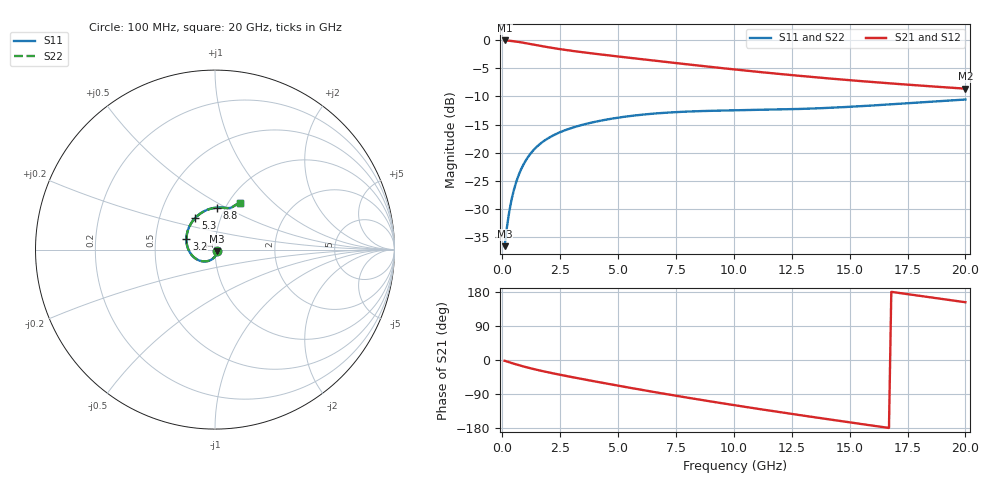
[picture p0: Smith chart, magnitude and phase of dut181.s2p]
! Touchstone file exported from HFSS 2023.1.0
!  File:  D:/Users/fzz/RDL_TSV/temp_RDL_TSV_181_1778755058.aedt
!  Generated:  6:45:59 %x4E0B%x5348  5%x6708 14, 2026
!  Design:  RDL_TSV
!  Project:  temp_RDL_TSV_181_1778755058
!  Setup:  Setup1
!  Solution:  Sweep
! Variables:
!  dtsv = 19.11um
!  hbump = 3um
!  htsv = 83.01um
!  ldown = 156.53um
!  lrdl = 473.07um
!  p = 40
!  p1 = 44.4um
!  rhole = 10um
!  subl = 2361.87um
!  t = 450um
!  tdown = 2.09um
!  trdl = 4.78um
!  viad = 10um
!  wdown = 20.1um
!  wrdl = 18.58um
!  xbump = 18um
# GHz S MA R 50.000000
! Terminal data exported
! Port[1] = TM1_1_T1
! Port[2] = TM1_4_T1
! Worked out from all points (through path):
!   200 points, 100 MHz to 20 GHz, reference 50 ohm
!   highest |S21| = -0.11 dB at 100 MHz (marker M1); lowest = -8.6 dB at 20 GHz (marker M2)
!   group delay of S21, straight-line fit = 27.5 ps
!   lowest |S11| = -36.5 dB at 100 MHz (marker M3), VSWR 1.03, Z = 51.1 - j1 ohm
!   |S11| at or under -10 dB: start of sweep to end of sweep
!   |S22| runs from -36.5 to -10.6 dB; largest |S21 - S12| = 1.1e-14
!   S11 on the Smith chart (normalised r, x): 100 MHz: 1.02, -0.02; 3.2 GHz: 0.72, +0.09; 5.3 GHz: 0.76, +0.28; 8.8 GHz: 0.92, +0.45; 20 GHz: 1.13, +0.65
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0.1  0.01488 -41.2  0.9873 -2.0  0.9873 -2.0  0.01488 -41.2
! Gamma 0 0 0 0
! Port Impedance 50 0 50 0
0.2  0.0219 -65.5  0.9848 -4.0  0.9848 -4.0  0.0219 -65.5
0.3  0.03006 -80.2  0.9811 -6.0  0.9811 -6.0  0.03006 -80.2
0.4  0.03847 -90.6  0.9764 -7.9  0.9764 -7.9  0.03847 -90.6
0.5  0.04683 -99.0  0.9709 -9.8  0.9709 -9.8  0.04683 -98.9
0.7  0.06287 -112.4  0.9579 -13.4  0.9579 -13.4  0.06286 -112.4
1  0.08448 -128.8  0.9352 -18.5  0.9352 -18.5  0.08447 -128.8
1.4  0.1083 -146.7  0.903 -24.6  0.903 -24.6  0.1083 -146.7
1.8  0.1273 -161.9  0.8725 -30.2  0.8725 -30.2  0.1272 -161.8
2.4  0.1491 179.2  0.8326 -37.8  0.8326 -37.8  0.1489 179.3
3.2  0.1708 158.9  0.7892 -47.3  0.7892 -47.3  0.1706 158.9
3.5  0.1776 152.3  0.7749 -50.8  0.7749 -50.8  0.1773 152.4
4.4  0.195 135.3  0.7359 -61.0  0.7359 -61.0  0.1945 135.4
5.3  0.2086 121.4  0.7005 -71.0  0.7005 -71.0  0.2081 121.5
6.8  0.2243 103.5  0.6462 -87.1  0.6462 -87.1  0.2236 103.6
8.8  0.2346 87.0  0.5817 -107.4  0.5817 -107.4  0.2338 87.1
10.1  0.2376 79.9  0.5448 -120.0  0.5448 -120.0  0.2368 80.0
11.7  0.2409 74.1  0.5049 -135.0  0.5049 -135.0  0.24 74.2
13.4  0.2465 70.4  0.4685 -150.4  0.4685 -150.4  0.2457 70.4
15  0.2552 68.1  0.4391 -164.5  0.4391 -164.5  0.2544 68.1
16.7  0.2677 66.1  0.4122 -179.3  0.4122 -179.3  0.267 66.1
20  0.2961 62.1  0.3695 152.4  0.3695 152.4  0.2952 62.1
